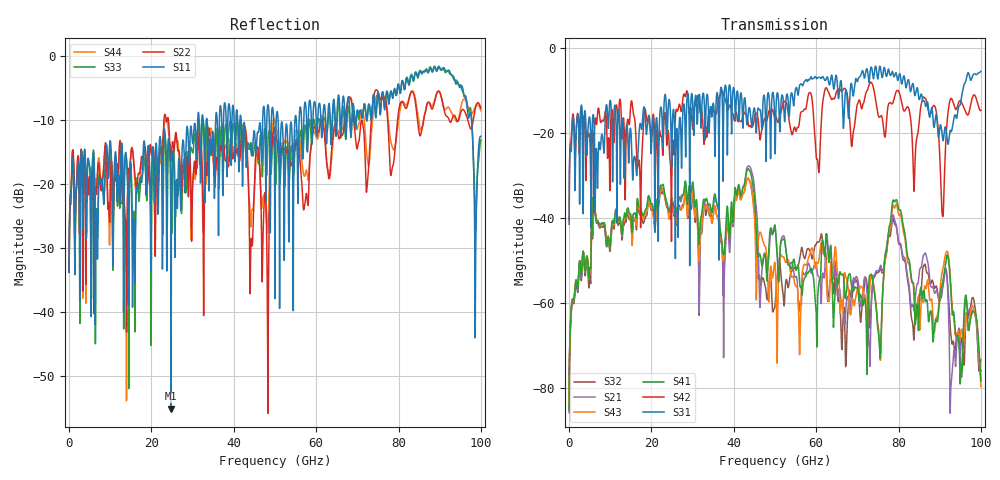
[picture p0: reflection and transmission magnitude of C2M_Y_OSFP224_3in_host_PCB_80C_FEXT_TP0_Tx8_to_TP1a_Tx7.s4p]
# GHz S RI R 45
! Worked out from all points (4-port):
!   4000 points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, 25 MHz to 100 GHz, reference 45 ohm
!   strongest paths, dB at 25 MHz, 25.02 GHz, 50.02 GHz, 75.03 GHz, 100 GHz:
!     S31: -41.4, -21.0, -24.0, -7.1, -5.4
!     S42: -40.5, -26.4, -15.9, -15.6, -14.6
!     S41: -84.9, -35.3, -41.7, -66.3, -78.3
!     S43: -84.9, -37.1, -50.7, -65.3, -79.7
!     S21: -85.1, -35.6, -42.4, -52.4, -73.3
!     S32: -85.8, -36.9, -60.4, -52.7, -75.9
!   lowest |S11| = -55.0 dB at 24.8 GHz (marker M1), VSWR 1.00, Z = 44.9 + j0.0609 ohm
!   |S11| at or under -10 dB: start of sweep to 31.24 GHz; 41.79 GHz to 47.01 GHz (5.216 GHz wide, 11.7 % of centre); 50.76 GHz to 54.84 GHz (4.078 GHz wide, 7.72 % of centre) (the widest 3 of 29)
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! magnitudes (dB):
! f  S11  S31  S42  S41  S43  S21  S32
! 25 MHz  -33.7  -41.4  -40.5  -84.9  -84.9  -85.1  -85.8
! 5.975 GHz  -15.2  -16.0  -38.7  -36.4  -36.4  -36.5  -36.9
! 24.8 GHz  -55.0  -21.8  -35.1  -35.7  -37.7  -36.4  -38.2
! 75.35 GHz  -7.5  -4.6  -16.2  -69.9  -68.4  -52.0  -52.5
! 79.2 GHz  -5.3  -6.0  -10.8  -36.0  -37.2  -40.9  -41.5
! 90.67 GHz  -1.9  -21.0  -39.4  -55.4  -52.4  -56.3  -56.6
! 100 GHz  -12.5  -5.4  -14.6  -78.3  -79.7  -73.3  -75.9
